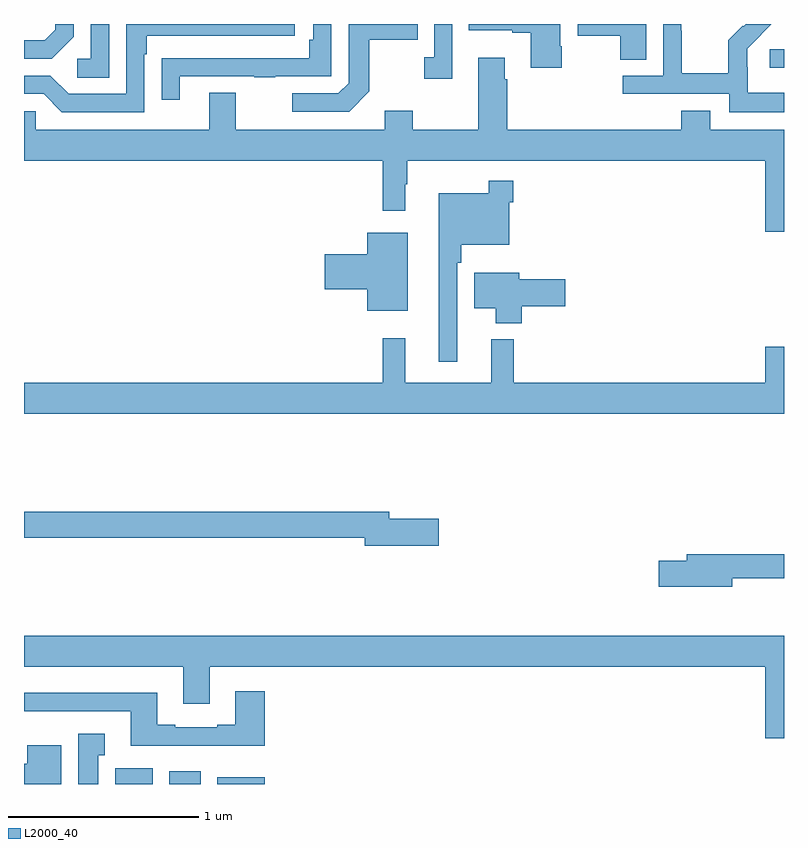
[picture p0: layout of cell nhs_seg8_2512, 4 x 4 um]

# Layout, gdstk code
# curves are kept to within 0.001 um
import gdstk
lib = gdstk.Library(unit=1e-6, precision=1e-09)
def R(c, l, rs):  # rectangles x0, y0, x1, y1
    for r in rs: c.add(gdstk.rectangle(r[:2], r[2:], *l))
def P(c, l, *ps):  # polygons
    for p in ps: c.add(gdstk.Polygon(p, *l))
L2000_40 = (2000, 40)

nhs_seg8_2512 = lib.new_cell('nhs_seg8_2512')
R(nhs_seg8_2512, L2000_40, [(269.48,1099.9,269.677,1099.984), (269.765,1099.9,269.929,1099.966), (270.017,1099.9,270.268,1099.936), (272.925,1103.669,273,1103.766), (269,1103.899,269.034,1103.9)])
P(nhs_seg8_2512, L2000_40, [(269.821,1103.625),(270.211,1103.625),(270.211,1103.62),(270.323,1103.62),(270.323,1103.625),(270.618,1103.625),(270.618,1103.9),(270.522,1103.9),(270.522,1103.818),(270.502,1103.818),(270.502,1103.721),(269.827,1103.721),(269.827,1103.72),(269.725,1103.72),(269.725,1103.502),(269.821,1103.502)],
  [(269.262,1103.834),(269.262,1103.9),(269.165,1103.9),(269.165,1103.871),(269.108,1103.814),(269,1103.814),(269,1103.718),(269.146,1103.718)],
  [(270.817,1103.545),(270.817,1103.818),(271.073,1103.818),(271.073,1103.9),(270.708,1103.9),(270.708,1103.589),(270.654,1103.535),(270.411,1103.535),(270.411,1103.439),(270.711,1103.439)],
  [(269.634,1103.741),(269.647,1103.741),(269.647,1103.838),(270.424,1103.838),(270.424,1103.9),(269.538,1103.9),(269.538,1103.532),(269.235,1103.532),(269.139,1103.628),(269,1103.628),(269,1103.532),(269.103,1103.532),(269.199,1103.436),(269.634,1103.436)],
  [(269.448,1103.9),(269.352,1103.9),(269.352,1103.718),(269.28,1103.718),(269.28,1103.617),(269.448,1103.617)],
  [(272.275,1103.9),(271.914,1103.9),(271.914,1103.837),(272.137,1103.837),(272.137,1103.713),(272.275,1103.713)],
  [(271.254,1103.9),(271.158,1103.9),(271.158,1103.726),(271.107,1103.726),(271.107,1103.613),(271.254,1103.613)],
  [(271.83,1103.782),(271.822,1103.782),(271.822,1103.9),(271.341,1103.9),(271.341,1103.867),(271.571,1103.867),(271.571,1103.855),(271.667,1103.855),(271.667,1103.67),(271.83,1103.67)],
  [(273,1103.539),(272.808,1103.539),(272.808,1103.673),(272.806,1103.673),(272.806,1103.77),(272.934,1103.9),(272.798,1103.9),(272.787,1103.889),(272.784,1103.892),(272.707,1103.815),(272.707,1103.641),(272.463,1103.641),(272.463,1103.864),(272.46,1103.864),(272.46,1103.9),(272.364,1103.9),(272.364,1103.628),(272.151,1103.628),(272.151,1103.532),(272.712,1103.532),(272.712,1103.435),(273,1103.435)],
  [(273,1103.344),(272.611,1103.344),(272.611,1103.443),(272.459,1103.443),(272.459,1103.344),(271.544,1103.344),(271.544,1103.609),(271.531,1103.609),(271.531,1103.722),(271.391,1103.722),(271.391,1103.344),(271.047,1103.344),(271.047,1103.443),(270.899,1103.443),(270.899,1103.344),(270.115,1103.344),(270.115,1103.539),(269.975,1103.539),(269.975,1103.344),(269.061,1103.344),(269.061,1103.442),(269,1103.442),(269,1103.18),(270.889,1103.18),(270.889,1102.917),(271.006,1102.917),(271.006,1103.057),(271.018,1103.057),(271.018,1103.18),(272.9,1103.18),(272.9,1102.806),(273,1102.806)],
  [(271.281,1102.643),(271.301,1102.643),(271.301,1102.739),(271.554,1102.739),(271.554,1102.961),(271.574,1102.961),(271.574,1103.074),(271.446,1103.074),(271.446,1103.008),(271.184,1103.008),(271.184,1102.122),(271.281,1102.122)],
  [(271.021,1102.801),(270.806,1102.801),(270.806,1102.688),(270.582,1102.688),(270.582,1102.505),(270.806,1102.505),(270.806,1102.391),(271.021,1102.391)],
  [(271.619,1102.414),(271.849,1102.414),(271.849,1102.556),(271.606,1102.556),(271.606,1102.591),(271.37,1102.591),(271.37,1102.403),(271.484,1102.403),(271.484,1102.325),(271.619,1102.325)],
  [(273,1102.201),(272.9,1102.201),(272.9,1102.012),(271.577,1102.012),(271.577,1102.24),(271.46,1102.24),(271.46,1102.012),(271.007,1102.012),(271.007,1102.246),(270.889,1102.246),(270.889,1102.012),(269,1102.012),(269,1101.848),(273,1101.848)],
  [(271.183,1101.296),(270.922,1101.296),(270.922,1101.332),(269,1101.332),(269,1101.196),(270.794,1101.196),(270.794,1101.154),(271.183,1101.154)],
  [(272.728,1100.982),(273,1100.982),(273,1101.11),(272.489,1101.11),(272.489,1101.074),(272.34,1101.074),(272.34,1100.939),(272.728,1100.939)],
  [(273,1100.68),(269,1100.68),(269,1100.516),(269.837,1100.516),(269.837,1100.322),(269.977,1100.322),(269.977,1100.516),(272.9,1100.516),(272.9,1100.142),(273,1100.142)],
  [(270.266,1100.389),(270.113,1100.389),(270.113,1100.212),(270.017,1100.212),(270.017,1100.199),(269.797,1100.199),(269.797,1100.212),(269.701,1100.212),(269.701,1100.38),(269.001,1100.38),(269.001,1100.283),(269.561,1100.283),(269.561,1100.102),(270.266,1100.102)],
  [(269.392,1100.051),(269.425,1100.051),(269.425,1100.164),(269.285,1100.164),(269.285,1099.9),(269.392,1099.9)],
  [(269.197,1100.104),(269.018,1100.104),(269.018,1100.006),(269,1100.006),(269,1099.9),(269.197,1099.9)])

lib.write_gds('nhs_seg8_2512.gds')
